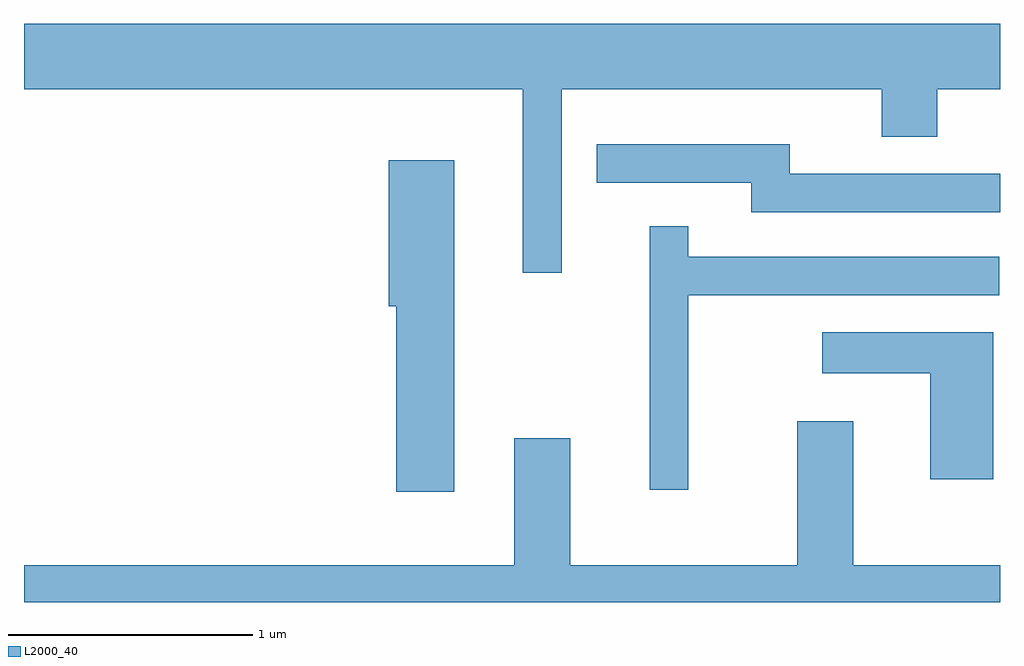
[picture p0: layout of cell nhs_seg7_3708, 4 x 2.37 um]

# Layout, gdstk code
import gdstk
lib = gdstk.Library(unit=1e-6, precision=1e-09)
def P(c, l, *ps):  # polygons
    for p in ps: c.add(gdstk.Polygon(p, *l))
L2000_40 = (2000, 40)

nhs_seg7_3708 = lib.new_cell('nhs_seg7_3708')
P(nhs_seg7_3708, L2000_40, [(301.814,1674.356),(303.126,1674.356),(303.126,1674.161),(303.354,1674.161),(303.354,1674.356),(303.611,1674.356),(303.611,1674.624),(299.611,1674.624),(299.611,1674.356),(301.656,1674.356),(301.656,1673.603),(301.814,1673.603)],
  [(303.611,1674.009),(302.749,1674.009),(302.749,1674.129),(301.958,1674.129),(301.958,1673.971),(302.591,1673.971),(302.591,1673.851),(303.611,1673.851)],
  [(301.374,1674.064),(301.106,1674.064),(301.106,1673.466),(301.136,1673.466),(301.136,1672.706),(301.374,1672.706)],
  [(302.334,1673.511),(303.608,1673.511),(303.608,1673.669),(302.334,1673.669),(302.334,1673.793),(302.176,1673.793),(302.176,1672.713),(302.334,1672.713)],
  [(303.584,1673.359),(302.883,1673.359),(302.883,1673.191),(303.326,1673.191),(303.326,1672.756),(303.584,1672.756)],
  [(303.611,1672.404),(303.009,1672.404),(303.009,1672.994),(302.781,1672.994),(302.781,1672.404),(301.849,1672.404),(301.849,1672.924),(301.621,1672.924),(301.621,1672.404),(299.611,1672.404),(299.611,1672.252),(303.611,1672.252)])

lib.write_gds('nhs_seg7_3708.gds')
